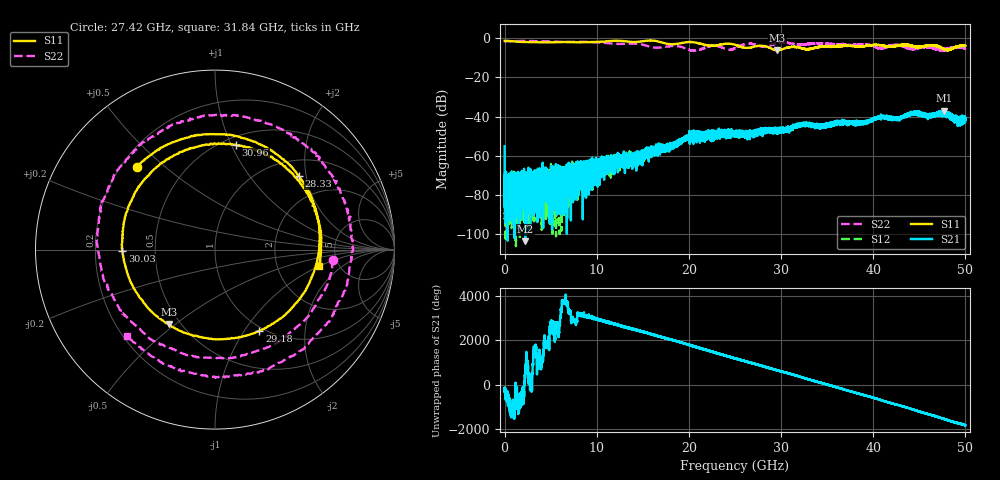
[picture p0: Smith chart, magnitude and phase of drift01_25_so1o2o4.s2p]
!Created with skrf (http://scikit-rf.org).
# Hz S RI R 50.0
!freq ReS11 ImS11 ReS21 ImS21 ReS12 ImS12 ReS22 ImS22
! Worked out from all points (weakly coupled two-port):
!   10001 points, 300 kHz to 50 GHz, reference 50 ohm
!   highest |S21| = -36.88 dB at 47.69 GHz (marker M1); lowest = -103.6 dB at 2.235 GHz (marker M2)
!   lowest |S11| = -6.2 dB at 29.61 GHz (marker M3), VSWR 2.91, Z = 21.7 - j23.6 ohm
!   |S11| at or under -10 dB: nowhere
!   |S22| runs from -6.5 to -1.4 dB; largest |S21 - S12| = 0.0038
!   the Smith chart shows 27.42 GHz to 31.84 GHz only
!   S11 on the Smith chart (normalised r, x): 27.42 GHz: 0.26, +0.40; 28.33 GHz: 1.35, +1.81; 29.18 GHz: 0.95, -1.17; 30.03 GHz: 0.32, -0.01; 30.96 GHz: 0.57, +1.04; 31.84 GHz: 3.55, -0.99
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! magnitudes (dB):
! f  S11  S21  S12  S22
! 300 kHz  -1.3  -55.1  -68.4  -2.1
! 255.3 MHz  -1.4  -80.2  -79.3  -1.4
! 2.235 GHz  -1.9  -103.6  -74.7  -1.4
! 3.755 GHz  -2.0  -78.4  -78.7  -1.5
! 4.37 GHz  -2.1  -73.7  -68.4  -1.5
! 5.59 GHz  -2.0  -75.5  -73.0  -1.7
! 8.335 GHz  -2.0  -67.5  -69.1  -1.8
! 16.67 GHz  -1.6  -56.0  -57.2  -4.8
! 20.13 GHz  -1.9  -50.6  -50.2  -6.0
! 22.62 GHz  -3.9  -48.1  -48.4  -3.8
! 25 GHz  -3.3  -49.6  -48.7  -5.1
! 27.42 GHz  -4.0  -47.7  -48.1  -3.6
! 28.33 GHz  -4.1  -46.1  -47.0  -4.3
! 29.18 GHz  -5.8  -46.6  -46.9  -3.1
! 29.61 GHz  -6.2  -48.0  -46.8  -2.5
! 30.03 GHz  -5.8  -46.1  -46.6  -2.3
! 30.96 GHz  -4.5  -46.0  -46.2  -2.5
! 31.84 GHz  -4.6  -44.8  -44.6  -3.2
! 33.34 GHz  -5.3  -44.3  -43.9  -2.7
! 41.67 GHz  -4.3  -40.3  -40.1  -4.3
! 47.69 GHz  -5.6  -36.9  -38.7  -6.2
! 50 GHz  -3.9  -41.5  -41.7  -5.4
